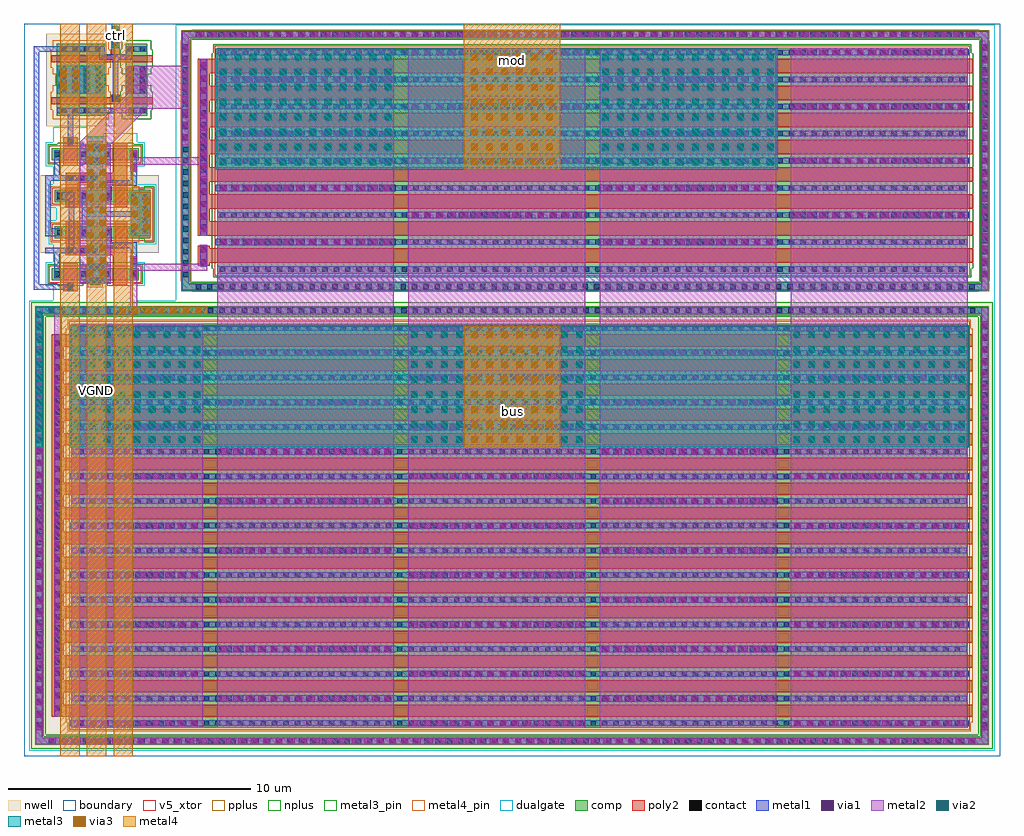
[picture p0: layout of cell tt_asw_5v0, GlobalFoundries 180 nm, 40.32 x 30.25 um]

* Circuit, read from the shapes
.subckt tt_asw_5v0 VAPWR VDPWR VGND bus ctrl mod
XM1 VGND n1 n2 VGND nfet_05v0 w=0.5u l=0.6u
XM2 VGND n3 n4 VGND nfet_05v0 w=0.5u l=0.6u
XM3 n5 n2 VGND VGND nfet_05v0 w=0.5u l=0.6u
XM4 n6 n4 VGND VGND nfet_05v0 w=0.5u l=0.6u
XM5 VGND n1 n3 VGND nfet_03v3 w=0.89u l=0.28u
XM6 n1 ctrl VGND VGND nfet_03v3 w=0.89u l=0.28u
XM7 mod n5 VGND VGND nfet_05v0 w=31u l=0.6u
XM8 bus n6 mod VGND nfet_05v0 w=31u l=0.6u m=7
XM9 VDPWR n1 n3 VDPWR pfet_03v3 w=2u l=0.28u
XM10 n1 ctrl VDPWR VDPWR pfet_03v3 w=2u l=0.28u
XM11 VAPWR n2 n4 VAPWR pfet_05v0 w=0.5u l=0.5u
XM12 VAPWR n4 n2 VAPWR pfet_05v0 w=0.5u l=0.5u
XM13 mod n5 bus VAPWR pfet_05v0 w=37u l=0.5u m=16
XM14 n5 n2 VAPWR VAPWR pfet_05v0 w=0.5u l=0.5u m=2
XM15 n6 n4 VAPWR VAPWR pfet_05v0 w=0.5u l=0.5u m=2
.ends

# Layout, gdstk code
import gdstk
lib = gdstk.Library(unit=1e-6, precision=1e-09)
def R(c, l, rs):  # rectangles x0, y0, x1, y1
    for r in rs: c.add(gdstk.rectangle(r[:2], r[2:], *l))
def A(c, l, x, y, w, h, nx, ny, dx, dy):  # array of equal rectangles
    R(c, l, [(x+i*dx, y+j*dy, x+i*dx+w, y+j*dy+h) for i in range(nx) for j in range(ny)])
def P(c, l, *ps):  # polygons
    for p in ps: c.add(gdstk.Polygon(p, *l))
boundary = (0, 0)
nwell = (21, 0)
comp = (22, 0)
poly2 = (30, 0)
pplus = (31, 0)
nplus = (32, 0)
contact = (33, 0)
metal1 = (34, 0)
via1 = (35, 0)
metal2 = (36, 0)
via2 = (38, 0)
via3 = (40, 0)
metal3 = (42, 0)
metal3_pin = (42, 10)
metal4 = (46, 0)
metal4_pin = (46, 10)
dualgate = (55, 0)
v5_xtor = (112, 1)

tt_asw_5v0 = lib.new_cell('tt_asw_5v0')
R(tt_asw_5v0, boundary, [(0,0,40.32,30.25)])
R(tt_asw_5v0, nwell, [(0.3,0.3,40.02,18.74), (0.665,20.79,5.565,23.99), (0.915,26.03,3.775,29.85)])
R(tt_asw_5v0, comp, [(0.46,0.46,39.86,0.82), (0.46,0.82,0.82,18.22), (39.5,0.82,39.86,18.22), (1.96,1.18,38.96,17.86), (0.46,18.22,39.86,18.58), (6.51,19.215,39.86,19.575), (2.735,19.47,3.155,19.665), (6.51,19.575,6.87,29.615), (39.5,19.575,39.86,29.615), (1.145,19.665,4.745,20.165), (7.98,19.935,38.98,29.255), (2.735,20.165,3.155,20.36), (1.265,21.39,5.215,21.89), (4.79,21.89,5.215,22.89), (1.265,22.89,5.215,23.39), (2.735,24.42,3.155,24.615), (1.145,24.615,4.745,25.115), (2.735,25.115,3.155,25.31), (1.345,26.46,3.345,29.42), (4.205,26.46,5.095,29.42), (6.51,29.615,39.86,29.975)])
A(tt_asw_5v0, poly2, 1.15, 1.62, 38.03, 0.5, 1, 16, 0, 1.02)
A(tt_asw_5v0, poly2, 1.15, 2.12, 0.5, 0.52, 1, 15, 0, 1.02)
A(tt_asw_5v0, poly2, 7.17, 20.375, 32.03, 0.6, 1, 8, 0, 1.12)
A(tt_asw_5v0, poly2, 1.735, 21.09, 0.5, 1.02, 3, 2, 1.02, 1.58)
A(tt_asw_5v0, poly2, 7.17, 22.095, 0.5, 0.52, 1, 6, 0, 1.12)
R(tt_asw_5v0, poly2, [(1.615,19.205,2.215,20.385), (3.675,19.445,4.275,20.69), (7.17,20.26,7.67,20.375), (1.735,20.69,4.275,21.09), (7.17,20.975,7.67,21.09), (1.735,23.69,4.275,24.09), (3.675,24.09,4.275,25.335), (1.615,24.395,2.215,25.575), (1.125,26.93,5.315,27.21), (3.605,27.21,3.965,27.33), (1.125,28.67,5.315,28.95), (3.605,28.95,3.965,29.55)])
R(tt_asw_5v0, pplus, [(1.8,1.02,39.12,1.39), (1.73,1.39,39.19,17.65), (1.8,17.65,39.12,18.02), (6.925,19.185,39.445,19.195), (6.49,19.195,39.88,19.605), (2.715,19.45,3.175,20.38), (6.49,19.605,6.9,19.63), (39.47,19.605,39.88,19.63), (6.48,19.63,6.9,29.56), (39.47,19.63,39.89,29.56), (1.505,21.16,4.505,21.23), (1.105,21.23,4.77,22.05), (1.505,22.05,4.505,22.12), (1.505,22.66,4.505,22.73), (1.105,22.73,4.77,23.55), (1.505,23.55,4.505,23.62), (2.715,24.4,3.175,25.33), (1.185,26.3,3.505,26.7), (1.115,26.7,3.575,27.44), (1.185,27.44,3.505,27.705), (4.185,27.705,5.115,28.175), (1.185,28.175,3.505,28.44), (1.115,28.44,3.575,29.18), (1.185,29.18,3.505,29.58), (6.49,29.56,6.9,29.585), (39.47,29.56,39.88,29.585), (6.49,29.585,39.88,29.995), (6.925,29.995,39.445,30.005)])
R(tt_asw_5v0, nplus, [(0.3,0.3,40.02,0.89), (0.3,0.89,0.89,18.15), (39.43,0.89,40.02,18.15), (0.3,18.15,40.02,18.74), (1.385,19.435,2.445,19.505), (3.445,19.435,4.505,19.505), (0.985,19.505,2.715,20.325), (3.175,19.505,4.905,20.325), (7.82,19.775,39.14,20.145), (7.75,20.145,39.21,29.045), (1.385,20.325,2.445,20.395), (3.445,20.325,4.505,20.395), (4.975,21.23,5.375,21.37), (4.77,21.37,5.375,23.41), (4.975,23.41,5.375,23.55), (1.385,24.385,2.445,24.455), (3.445,24.385,4.505,24.455), (0.985,24.455,2.715,25.275), (3.175,24.455,4.905,25.275), (1.385,25.275,2.445,25.345), (3.445,25.275,4.505,25.345), (4.045,26.3,5.255,26.7), (3.975,26.7,5.325,27.44), (4.045,27.44,5.255,27.705), (1.325,27.705,3.365,27.73), (1.315,27.73,3.375,28.15), (1.325,28.15,3.365,28.175), (4.045,28.175,5.255,28.44), (3.975,28.44,5.325,29.18), (7.82,29.045,39.14,29.415), (4.045,29.18,5.255,29.58)])
A(tt_asw_5v0, contact, 1.015, 0.53, 0.22, 0.22, 82, 2, 0.47, 17.76)
A(tt_asw_5v0, contact, 0.53, 1.185, 0.22, 0.22, 1, 36, 0, 0.47)
A(tt_asw_5v0, contact, 39.57, 1.185, 0.22, 0.22, 1, 36, 0, 0.47)
A(tt_asw_5v0, contact, 2.255, 1.25, 0.22, 0.22, 78, 17, 0.47, 1.02)
A(tt_asw_5v0, contact, 1.29, 1.89, 0.22, 0.22, 1, 33, 0, 0.47)
A(tt_asw_5v0, contact, 7.095, 19.285, 0.22, 0.22, 69, 2, 0.47, 10.4)
A(tt_asw_5v0, contact, 6.58, 19.785, 0.22, 0.22, 1, 21, 0, 0.47)
A(tt_asw_5v0, contact, 39.57, 19.785, 0.22, 0.22, 1, 21, 0, 0.47)
A(tt_asw_5v0, contact, 8.095, 20.005, 0.22, 0.22, 66, 9, 0.47, 1.12)
A(tt_asw_5v0, contact, 1.805, 20.78, 0.22, 0.22, 3, 2, 0.47, 3)
A(tt_asw_5v0, contact, 1.365, 21.53, 0.22, 0.22, 4, 2, 1.02, 1.5)
A(tt_asw_5v0, contact, 4.895, 21.575, 0.22, 0.22, 1, 4, 0, 0.47)
A(tt_asw_5v0, contact, 7.31, 21.755, 0.22, 0.22, 1, 15, 0, 0.47)
A(tt_asw_5v0, contact, 1.53, 26.56, 0.22, 0.22, 4, 2, 0.47, 0.8)
A(tt_asw_5v0, contact, 4.305, 27.36, 0.22, 0.22, 1, 3, 0, 0.47)
A(tt_asw_5v0, contact, 4.775, 27.36, 0.22, 0.22, 1, 3, 0, 0.47)
A(tt_asw_5v0, contact, 1.53, 27.83, 0.22, 0.22, 4, 2, 0.47, 0.47)
A(tt_asw_5v0, contact, 1.53, 29.1, 0.22, 0.22, 4, 1, 0.47, 0)
R(tt_asw_5v0, contact, [(1.805,19.275,2.025,19.495), (2.835,19.57,3.055,19.79), (1.245,19.805,1.465,20.025), (2.365,19.805,2.585,20.025), (3.305,19.805,3.525,20.025), (4.425,19.805,4.645,20.025), (2.835,20.04,3.055,20.26), (7.31,20.33,7.53,20.55), (7.31,20.8,7.53,21.02), (2.835,24.52,3.055,24.74), (1.245,24.755,1.465,24.975), (2.365,24.755,2.585,24.975), (3.305,24.755,3.525,24.975), (4.425,24.755,4.645,24.975), (2.835,24.99,3.055,25.21), (1.805,25.285,2.025,25.505), (4.305,26.56,4.525,26.78), (4.775,26.56,4.995,26.78), (3.675,27.04,3.895,27.26), (4.305,29.1,4.525,29.32), (4.775,29.1,4.995,29.32), (3.675,29.26,3.895,29.48)])
A(tt_asw_5v0, metal1, 1.91, 1.245, 37.12, 0.23, 1, 9, 0, 2.04)
A(tt_asw_5v0, metal1, 1.97, 2.265, 36.98, 0.23, 1, 8, 0, 2.04)
A(tt_asw_5v0, metal1, 7.93, 21.12, 31.04, 0.23, 1, 4, 0, 2.24)
A(tt_asw_5v0, metal1, 7.99, 22.24, 31.04, 0.23, 1, 3, 0, 2.24)
R(tt_asw_5v0, metal1, [(0.495,0.495,39.825,0.755), (0.495,0.755,0.755,18.285), (39.565,0.755,39.825,18.285), (1.91,1.23,7.43,1.245), (15.83,1.23,23.23,1.245), (31.63,1.23,39.03,1.245), (1.91,1.475,7.43,1.49), (15.83,1.475,23.23,1.49), (31.63,1.475,39.03,1.49), (1.27,1.63,1.53,17.41), (7.93,2.25,15.33,2.265), (23.73,2.25,31.13,2.265), (7.93,2.495,15.33,2.51), (23.73,2.495,31.13,2.51), (1.91,3.27,7.43,3.285), (15.83,3.27,23.23,3.285), (31.63,3.27,39.03,3.285), (1.91,3.515,7.43,3.53), (15.83,3.515,23.23,3.53), (31.63,3.515,39.03,3.53), (7.93,4.29,15.33,4.305), (23.73,4.29,31.13,4.305), (7.93,4.535,15.33,4.55), (23.73,4.535,31.13,4.55), (1.91,5.31,7.43,5.325), (15.83,5.31,23.23,5.325), (31.63,5.31,39.03,5.325), (1.91,5.555,7.43,5.57), (15.83,5.555,23.23,5.57), (31.63,5.555,39.03,5.57), (7.93,6.33,15.33,6.345), (23.73,6.33,31.13,6.345), (7.93,6.575,15.33,6.59), (23.73,6.575,31.13,6.59), (1.91,7.35,7.43,7.365), (15.83,7.35,23.23,7.365), (31.63,7.35,39.03,7.365), (1.91,7.595,7.43,7.61), (15.83,7.595,23.23,7.61), (31.63,7.595,39.03,7.61), (7.93,8.37,15.33,8.385), (23.73,8.37,31.13,8.385), (7.93,8.615,15.33,8.63), (23.73,8.615,31.13,8.63), (1.91,9.39,7.43,9.405), (15.83,9.39,23.23,9.405), (31.63,9.39,39.03,9.405), (1.91,9.635,7.43,9.65), (15.83,9.635,23.23,9.65), (31.63,9.635,39.03,9.65), (7.93,10.41,15.33,10.425), (23.73,10.41,31.13,10.425), (7.93,10.655,15.33,10.67), (23.73,10.655,31.13,10.67), (1.91,11.43,7.43,11.445), (15.83,11.43,23.23,11.445), (31.63,11.43,39.03,11.445), (1.91,11.675,7.43,11.69), (15.83,11.675,23.23,11.69), (31.63,11.675,39.03,11.69), (7.93,12.45,15.33,12.465), (23.73,12.45,31.13,12.465), (7.93,12.695,15.33,12.71), (23.73,12.695,31.13,12.71), (1.91,13.47,7.43,13.485), (15.83,13.47,23.23,13.485), (31.63,13.47,39.03,13.485), (1.91,13.715,7.43,13.73), (15.83,13.715,23.23,13.73), (31.63,13.715,39.03,13.73), (7.93,14.49,15.33,14.505), (23.73,14.49,31.13,14.505), (7.93,14.735,15.33,14.75), (23.73,14.735,31.13,14.75), (1.91,15.51,7.43,15.525), (15.83,15.51,23.23,15.525), (31.63,15.51,39.03,15.525), (1.91,15.755,7.43,15.77), (15.83,15.755,23.23,15.77), (31.63,15.755,39.03,15.77), (7.93,16.53,15.33,16.545), (23.73,16.53,31.13,16.545), (7.93,16.775,15.33,16.79), (23.73,16.775,31.13,16.79), (1.91,17.55,7.43,17.565), (15.83,17.55,23.23,17.565), (31.63,17.55,39.03,17.565), (1.91,17.795,7.43,17.81), (15.83,17.795,23.23,17.81), (31.63,17.795,39.03,17.81), (0.495,18.285,39.825,18.545), (1.8,19.215,2.03,19.27), (6.545,19.25,39.825,19.51), (0.4,19.27,2.03,19.5), (0.4,19.5,0.63,29.095), (1.8,19.5,2.03,19.555), (2.3,19.51,3.59,20.32), (6.545,19.51,6.805,29.68), (7.99,19.51,38.97,20.23), (39.565,19.51,39.825,29.68), (1.24,19.745,1.47,20.775), (4.405,19.745,4.665,20.645), (7.29,20.225,7.55,21.125), (4.42,20.645,4.65,20.99), (0.88,20.775,3.025,21.005), (3.4,20.99,4.65,21.22), (1.84,21.005,2.07,22.97), (7.93,21.105,15.33,21.12), (23.73,21.105,31.13,21.12), (3.4,21.22,3.63,21.81), (7.93,21.35,15.33,21.365), (23.73,21.35,31.13,21.365), (0.88,21.47,1.59,21.81), (2.38,21.47,2.61,22.275), (4.42,21.47,5.23,22.275), (7.29,21.505,7.55,28.805), (0.88,21.81,1.11,23.775), (15.83,22.225,23.23,22.24), (31.63,22.225,39.03,22.24), (2.38,22.275,5.23,22.505), (15.83,22.47,23.23,22.485), (31.63,22.47,39.03,22.485), (2.38,22.505,2.61,23.31), (4.42,22.505,5.23,23.31), (1.36,22.97,2.07,23.31), (3.4,22.97,3.63,23.56), (7.93,23.345,15.33,23.36), (23.73,23.345,31.13,23.36), (3.4,23.56,4.65,23.79), (7.93,23.59,15.33,23.605), (23.73,23.59,31.13,23.605), (0.88,23.775,3.025,24.005), (4.42,23.79,4.65,24.135), (1.24,24.005,1.47,25.035), (4.405,24.135,4.665,25.035), (2.3,24.46,3.59,25.27), (15.83,24.465,23.23,24.48), (31.63,24.465,39.03,24.48), (15.83,24.71,23.23,24.725), (31.63,24.71,39.03,24.725), (1.8,25.225,2.03,26.555), (7.93,25.585,15.33,25.6), (23.73,25.585,31.13,25.6), (7.93,25.83,15.33,25.845), (23.73,25.83,31.13,25.845), (1.355,26.555,5.055,26.785), (15.83,26.705,23.23,26.72), (31.63,26.705,39.03,26.72), (15.83,26.95,23.23,26.965), (31.63,26.95,39.03,26.965), (3.615,27.035,3.955,27.265), (3.67,27.265,3.9,28.775), (1.355,27.355,3.335,28.525), (4.245,27.355,5.055,28.525), (7.93,27.825,15.33,27.84), (23.73,27.825,31.13,27.84), (7.93,28.07,15.33,28.085), (23.73,28.07,31.13,28.085), (3.105,28.775,4.475,29.005), (15.83,28.945,23.23,28.96), (31.63,28.945,39.03,28.96), (8,28.96,39.03,29.19), (3.105,29.005,3.335,29.095), (4.245,29.005,4.475,29.095), (0.4,29.095,3.335,29.325), (4.245,29.095,5.055,29.325), (15.83,29.19,23.23,29.205), (31.63,29.19,39.03,29.205), (3.615,29.25,3.955,30.15), (6.545,29.68,39.825,29.94)])
A(tt_asw_5v0, via1, 1.05, 0.495, 0.26, 0.26, 74, 1, 0.52, 0)
A(tt_asw_5v0, via1, 0.495, 1.07, 0.26, 0.26, 1, 33, 0, 0.52)
A(tt_asw_5v0, via1, 39.565, 1.07, 0.26, 0.26, 1, 33, 0, 0.52)
A(tt_asw_5v0, via1, 2.2, 1.23, 0.26, 0.26, 10, 9, 0.52, 2.04)
A(tt_asw_5v0, via1, 16.02, 1.23, 0.26, 0.26, 14, 9, 0.52, 2.04)
A(tt_asw_5v0, via1, 31.82, 1.23, 0.26, 0.26, 14, 9, 0.52, 2.04)
A(tt_asw_5v0, via1, 1.27, 1.85, 0.26, 0.26, 1, 30, 0, 0.52)
A(tt_asw_5v0, via1, 8.12, 2.25, 0.26, 0.26, 14, 8, 0.52, 2.04)
A(tt_asw_5v0, via1, 23.92, 2.25, 0.26, 0.26, 14, 8, 0.52, 2.04)
A(tt_asw_5v0, via1, 5.16, 18.285, 0.26, 0.26, 5, 1, 0.52, 0)
A(tt_asw_5v0, via1, 39.565, 19.785, 0.26, 0.26, 1, 19, 0, 0.52)
A(tt_asw_5v0, via1, 8.12, 21.105, 0.26, 0.26, 14, 4, 0.52, 2.24)
A(tt_asw_5v0, via1, 23.92, 21.105, 0.26, 0.26, 14, 4, 0.52, 2.24)
A(tt_asw_5v0, via1, 7.29, 21.645, 0.26, 0.26, 1, 14, 0, 0.52)
A(tt_asw_5v0, via1, 4.435, 21.74, 0.26, 0.26, 1, 3, 0, 0.52)
A(tt_asw_5v0, via1, 4.955, 21.74, 0.26, 0.26, 1, 3, 0, 0.52)
A(tt_asw_5v0, via1, 16.02, 22.225, 0.26, 0.26, 14, 4, 0.52, 2.24)
A(tt_asw_5v0, via1, 31.82, 22.225, 0.26, 0.26, 14, 4, 0.52, 2.24)
A(tt_asw_5v0, via1, 6.545, 25.43, 0.26, 0.26, 1, 8, 0, 0.52)
A(tt_asw_5v0, via1, 1.435, 27.55, 0.26, 0.26, 4, 2, 0.52, 0.52)
A(tt_asw_5v0, via1, 7.195, 29.68, 0.26, 0.26, 62, 1, 0.52, 0)
R(tt_asw_5v0, via1, [(2.555,19.525,2.815,19.785), (3.075,19.525,3.335,19.785), (4.405,19.805,4.665,20.065), (2.555,20.045,2.815,20.305), (3.075,20.045,3.335,20.305), (7.29,20.285,7.55,20.545), (4.405,20.325,4.665,20.585), (7.29,20.805,7.55,21.065), (4.405,24.195,4.665,24.455), (2.555,24.475,2.815,24.735), (3.075,24.475,3.335,24.735), (4.405,24.715,4.665,24.975), (2.555,24.995,2.815,25.255), (3.075,24.995,3.335,25.255), (4.26,27.55,4.52,27.81), (4.78,27.55,5.04,27.81), (4.26,28.07,4.52,28.33), (4.78,28.07,5.04,28.33), (3.655,29.31,3.915,29.57), (3.655,29.83,3.915,30.09)])
A(tt_asw_5v0, metal2, 7.98, 1.17, 7.3, 28.095, 4, 1, 7.9, 0)
R(tt_asw_5v0, metal2, [(0.485,0.485,39.835,0.765), (0.485,0.765,0.765,18.545), (39.555,0.765,39.835,18.545), (1.96,1.17,7.38,17.87), (1.25,1.63,1.55,18.25), (1.25,18.25,4.685,18.55), (5.085,18.275,7.58,18.555), (4.385,18.55,4.685,20.045), (39.555,19.25,39.835,29.67), (2.3,19.51,3.59,25.295), (4.385,20.045,7.57,20.345), (4.385,20.345,4.685,20.645), (7.27,20.345,7.57,21.125), (4.42,21.47,5.23,23.31), (7.27,21.505,7.57,24.435), (4.385,24.135,4.685,24.435), (4.385,24.435,7.57,24.735), (4.385,24.735,4.685,25.035), (7.27,24.735,7.57,28.805), (6.535,25.235,6.815,26.735), (2.3,25.295,3.615,25.37), (2.48,25.37,3.615,25.55), (3.59,25.55,3.615,26.66), (3.59,26.66,4.98,26.735), (4.245,26.735,6.815,28.525), (1.355,27.355,3.335,28.525), (6.535,28.525,6.815,29.67), (3.615,29.25,3.955,30.15), (6.535,29.67,39.835,29.95)])
P(tt_asw_5v0, metal2, [(3.665,26.735),(4.245,26.735),(4.245,27.315)],
  [(4.98,26.66),(4.98,26.735),(5.055,26.735)],
  [(2.48,25.55),(3.59,25.55),(3.59,26.66)],
  [(2.3,25.37),(2.48,25.37),(2.48,25.55)],
  [(3.615,25.295),(3.615,26.66),(4.98,26.66)],
  [(3.59,25.27),(3.59,25.295),(3.615,25.295)])
A(tt_asw_5v0, via2, 0.495, 12.915, 0.26, 0.26, 1, 11, 0, 0.52)
A(tt_asw_5v0, via2, 2.06, 12.95, 0.26, 0.26, 9, 8, 0.62, 0.62)
A(tt_asw_5v0, via2, 15.99, 12.95, 0.26, 0.26, 12, 8, 0.62, 0.62)
A(tt_asw_5v0, via2, 31.79, 12.95, 0.26, 0.26, 12, 8, 0.62, 0.62)
A(tt_asw_5v0, via2, 5.16, 18.285, 0.26, 0.26, 5, 1, 0.52, 0)
A(tt_asw_5v0, via2, 2.61, 19.825, 0.26, 0.26, 1, 11, 0, 0.52)
A(tt_asw_5v0, via2, 3.13, 19.825, 0.26, 0.26, 1, 11, 0, 0.52)
A(tt_asw_5v0, via2, 4.435, 21.74, 0.26, 0.26, 1, 3, 0, 0.52)
A(tt_asw_5v0, via2, 4.955, 21.74, 0.26, 0.26, 1, 3, 0, 0.52)
A(tt_asw_5v0, via2, 8.09, 24.415, 0.26, 0.26, 12, 8, 0.62, 0.62)
A(tt_asw_5v0, via2, 23.89, 24.415, 0.26, 0.26, 12, 8, 0.62, 0.62)
A(tt_asw_5v0, via2, 1.435, 27.55, 0.26, 0.26, 4, 2, 0.52, 0.52)
R(tt_asw_5v0, via2, [(3.655,29.31,3.915,29.57), (3.655,29.83,3.915,30.09)])
A(tt_asw_5v0, via3, 18.48, 12.95, 0.26, 0.26, 6, 8, 0.62, 0.62)
A(tt_asw_5v0, via3, 3.95, 18.285, 0.26, 0.26, 7, 1, 0.52, 0)
A(tt_asw_5v0, via3, 2.61, 19.825, 0.26, 0.26, 1, 11, 0, 0.52)
A(tt_asw_5v0, via3, 3.13, 19.825, 0.26, 0.26, 1, 11, 0, 0.52)
A(tt_asw_5v0, via3, 4.435, 21.74, 0.26, 0.26, 1, 3, 0, 0.52)
A(tt_asw_5v0, via3, 4.955, 21.74, 0.26, 0.26, 1, 3, 0, 0.52)
A(tt_asw_5v0, via3, 18.48, 24.415, 0.26, 0.26, 6, 8, 0.62, 0.62)
R(tt_asw_5v0, via3, [(1.51,27.55,1.77,27.81), (2.03,27.55,2.29,27.81), (1.51,28.07,1.77,28.33), (2.03,28.07,2.29,28.33)])
R(tt_asw_5v0, metal3, [(0.485,12.75,0.765,18.275), (1.91,12.75,39.03,17.75), (0.485,18.275,7.58,18.555), (2.6,19.51,3.4,25.6), (4.42,21.47,5.23,23.31), (7.93,24.215,31.13,29.215), (1.355,27.355,3.335,28.525), (3.615,29.25,3.955,30.25)])
R(tt_asw_5v0, metal3_pin, [(3.615,29.25,3.955,30.25)])
R(tt_asw_5v0, metal4, [(1.5,0,2.3,30.25), (2.6,0,3.4,30.25), (3.7,0,4.5,18.275), (18.16,12.75,22.16,17.75), (3.7,18.275,7.58,18.555), (3.7,18.555,4.5,21.47), (3.7,21.47,5.23,23.31), (3.7,23.31,4.5,30.25), (18.16,24.215,22.16,30.25)])
A(tt_asw_5v0, metal4_pin, 1.5, 0, 0.8, 30.25, 3, 1, 1.1, 0)
R(tt_asw_5v0, metal4_pin, [(18.16,12.75,22.16,15.75), (18.16,27.25,22.16,30.25)])
R(tt_asw_5v0, dualgate, [(0.22,0.22,40.1,18.82), (1.215,18.82,4.675,19.425), (6.27,18.82,40.1,30.215), (0.905,19.425,4.985,20.405), (1.215,20.405,4.675,21.15), (1.025,21.15,5.455,22.13), (1.335,22.13,5.455,22.65), (1.025,22.65,5.455,23.63), (1.215,23.63,4.675,24.375), (0.905,24.375,4.985,25.355), (1.215,25.355,4.675,25.55), (1.215,25.55,2.615,25.975), (3.275,25.55,4.675,25.735)])
R(tt_asw_5v0, v5_xtor, [(1.86,1.08,39.06,17.96), (2.635,19.37,3.255,19.565), (1.045,19.565,4.845,20.265), (7.88,19.835,39.08,29.355), (2.635,20.265,3.255,20.46), (1.165,21.29,5.315,21.99), (4.69,21.99,5.315,22.79), (1.165,22.79,5.315,23.49), (2.635,24.32,3.255,24.515), (1.045,24.515,4.845,25.215), (2.635,25.215,3.255,25.41)])
tt_asw_5v0.add(gdstk.Label('VGND', (3,15.125), layer=46, texttype=10))
tt_asw_5v0.add(gdstk.Label('VDPWR', (1.9,15.125), layer=46, texttype=10))
tt_asw_5v0.add(gdstk.Label('VAPWR', (4.1,15.125), layer=46, texttype=10))
tt_asw_5v0.add(gdstk.Label('ctrl', (3.785,29.75), layer=42, texttype=10))
tt_asw_5v0.add(gdstk.Label('mod', (20.16,28.75), layer=46, texttype=10))
tt_asw_5v0.add(gdstk.Label('bus', (20.16,14.25), layer=46, texttype=10))

lib.write_gds('tt_asw_5v0.gds')
